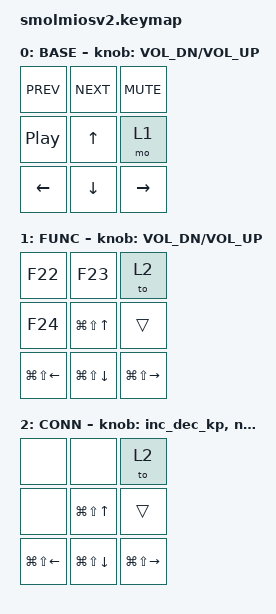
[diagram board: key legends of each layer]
#include <behaviors.dtsi>
#include <dt-bindings/zmk/keys.h>
#include <dt-bindings/zmk/bt.h>

&top_encoder { status = "okay"; steps = <80>; };

#define BASE 0
#define FUNC 1
#define CONN 2

/ {  
    keymap {
        compatible = "zmk,keymap";

        base_layer {
            display-name = "BASE";

            bindings = <
                &kp C_PREV    &kp C_NEXT    &kp C_MUTE
                &kp C_PP      &kp UP        &mo 1
                &kp LEFT      &kp DOWN      &kp RIGHT
            >;
            sensor-bindings = <&inc_dec_kp C_VOL_DN C_VOL_UP>;
        }; 


        function_layer {
            display-name = "FUNC";

            bindings = <
                &kp F22             &kp F23             &to 2
                &kp F24             &kp LG(LS(UP))      &trans                          
                &kp LG(LS(LEFT))    &kp LG(LS(DOWN))    &kp LG(LS(RIGHT))
            >;
            sensor-bindings = <&inc_dec_kp C_VOL_DN C_VOL_UP>;
        };

        connection_layer {
            display-name = "CONN";
            
            bindings = <
                &none               &none               &to 2
                &none               &kp LG(LS(UP))      &trans                          
                &kp LG(LS(LEFT))    &kp LG(LS(DOWN))    &kp LG(LS(RIGHT))
            >;
            sensor-bindings = <&inc_dec_kp &none &none>;
        };

    };
};

&sensors {
    top_config {
        triggers-per-rotation = <24>;
    };
};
